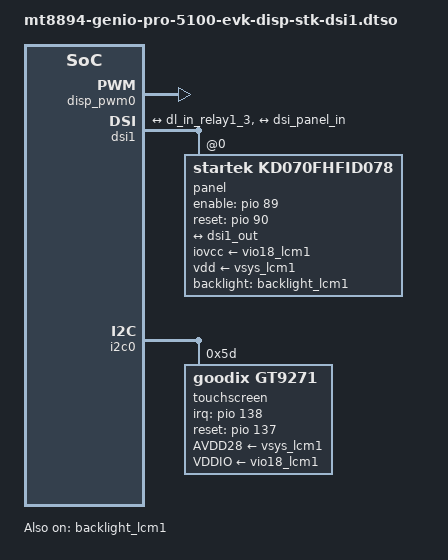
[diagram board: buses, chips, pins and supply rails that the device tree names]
// SPDX-License-Identifier: (GPL-2.0 OR MIT)
/*
 * Startek KD070FHFID078 DSI Display module
 * Copyright (C) 2026 Collabora Ltd.
 *                    AngeloGioacchino Del Regno <angelogioacchino.delregno@collabora.com>
 */

#include <dt-bindings/gpio/gpio.h>
#include <dt-bindings/interrupt-controller/irq.h>

/dts-v1/;
/plugin/;

&backlight_lcm1 {
	status = "okay";
};

&disp_pwm0 {
	status = "okay";
};

&dl_in_relay1_3 {
	remote-endpoint = <&dsi1_in>;
};

&dsi1 {
	#address-cells = <1>;
	#size-cells = <0>;
	status = "okay";

	panel@0 {
		compatible = "startek,kd070fhfid078", "himax,hx8279";
		reg = <0>;
		backlight = <&backlight_lcm1>;
		enable-gpios = <&pio 89 GPIO_ACTIVE_HIGH>;
		reset-gpios = <&pio 90 GPIO_ACTIVE_HIGH>;
		iovcc-supply = <&vio18_lcm1>;
		vdd-supply = <&vsys_lcm1>;
		pinctrl-names = "default";
		pinctrl-0 = <&disp_dsi1_pins>;

		port {
			dsi_panel_in: endpoint {
				remote-endpoint = <&dsi1_out>;
			};
		};
	};

	ports {
		#address-cells = <1>;
		#size-cells = <0>;

		port@0 {
			reg = <0>;
			dsi1_in: endpoint {
				remote-endpoint = <&dl_in_relay1_3>;
			};
		};

		port@1 {
			reg = <1>;
			dsi1_out: endpoint {
				remote-endpoint = <&dsi_panel_in>;
			};
		};
	};
};

&i2c0 {
	#address-cells = <1>;
	#size-cells = <0>;

	touchscreen@5d {
		compatible = "goodix,gt9271";
		reg = <0x5d>;
		interrupts-extended = <&pio 138 IRQ_TYPE_EDGE_RISING>;
		irq-gpios = <&pio 138 GPIO_ACTIVE_HIGH>;
		reset-gpios = <&pio 137 GPIO_ACTIVE_HIGH>;
		AVDD28-supply = <&vsys_lcm1>;
		VDDIO-supply = <&vio18_lcm1>;
		pinctrl-names = "default";
		pinctrl-0 = <&disp_touchscreen_pins>;
	};
};
